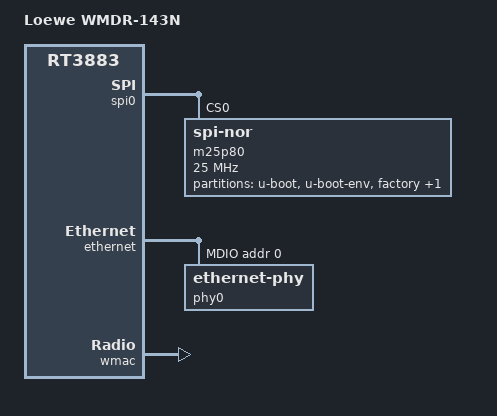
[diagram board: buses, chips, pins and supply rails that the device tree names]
/dts-v1/;

#include "rt3883.dtsi"

/ {
	compatible = "loewe,wmdr-143n", "ralink,rt3662-soc", "ralink,rt3883-soc";
	model = "Loewe WMDR-143N";
};

&spi0 {
	status = "okay";

	m25p80@0 {
		compatible = "jedec,spi-nor";
		reg = <0>;
		spi-max-frequency = <25000000>;

		partitions {
			compatible = "fixed-partitions";
			#address-cells = <1>;
			#size-cells = <1>;

			partition@0 {
				label = "u-boot";
				reg = <0x0 0x30000>;
				read-only;
			};

			partition@30000 {
				label = "u-boot-env";
				reg = <0x30000 0x00010000>;
				read-only;
			};

			factory: partition@40000 {
				label = "factory";
				reg = <0x40000 0x10000>;
				read-only;
			};

			partition@50000 {
				compatible = "denx,uimage";
				label = "firmware";
				reg = <0x50000 0x7b0000>;
			};
		};
	};
};

&ethernet {
	port@0 {
		phy-handle = <&phy0>;
		phy-mode = "mii";
	};
	mdio-bus {
		status = "okay";

		phy0: ethernet-phy@0 {
			reg = <0>;
			phy-mode = "mii";
		};
	};
};

&wmac {
	status = "okay";
	ralink,mtd-eeprom = <&factory 0x0>;
};
